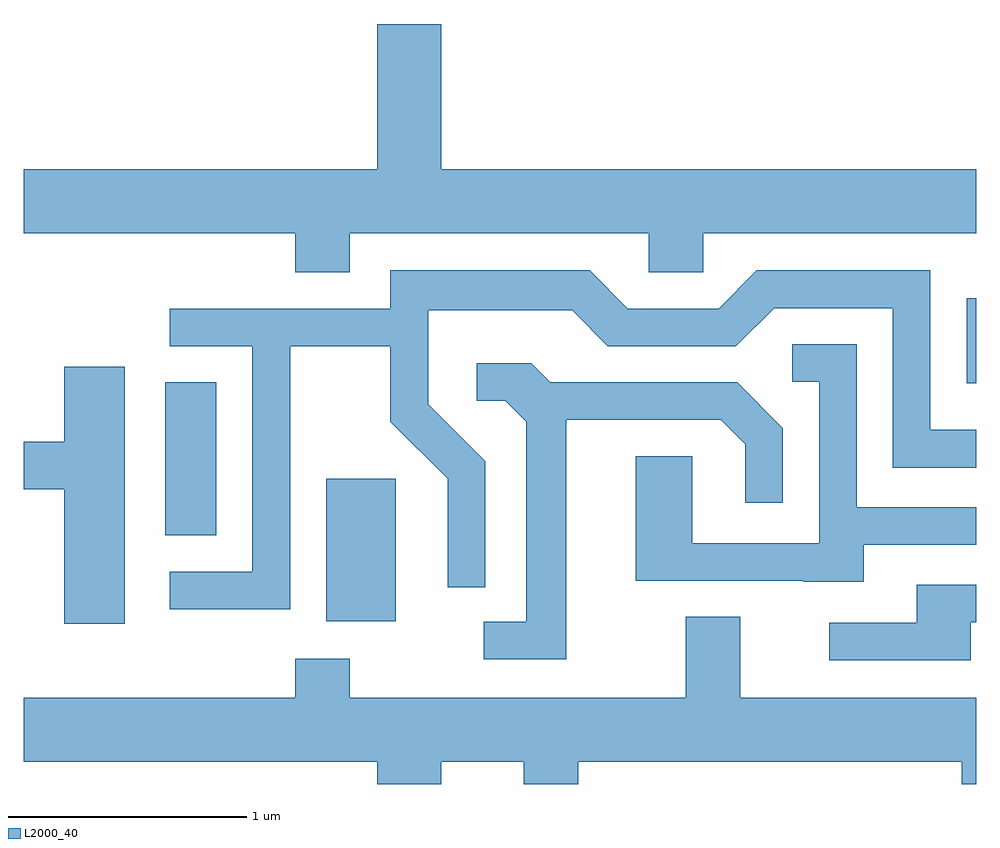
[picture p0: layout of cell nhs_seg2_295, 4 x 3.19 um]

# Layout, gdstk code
import gdstk
lib = gdstk.Library(unit=1e-6, precision=1e-09)
def R(c, l, rs):  # rectangles x0, y0, x1, y1
    for r in rs: c.add(gdstk.rectangle(r[:2], r[2:], *l))
def P(c, l, *ps):  # polygons
    for p in ps: c.add(gdstk.Polygon(p, *l))
L2000_40 = (2000, 40)

nhs_seg2_295 = lib.new_cell('nhs_seg2_295')
R(nhs_seg2_295, L2000_40, [(194.881,1024.486,195.174,1025.084), (194.206,1024.846,194.419,1025.489), (197.571,1025.486,197.611,1025.843)])
P(nhs_seg2_295, L2000_40, [(194.979,1026.116),(196.236,1026.116),(196.236,1025.951),(196.464,1025.951),(196.464,1026.116),(197.611,1026.116),(197.611,1026.384),(195.364,1026.384),(195.364,1026.994),(195.096,1026.994),(195.096,1026.384),(193.611,1026.384),(193.611,1026.116),(194.751,1026.116),(194.751,1025.951),(194.979,1025.951)],
  [(194.729,1025.641),(195.151,1025.641),(195.151,1025.324),(195.391,1025.084),(195.391,1024.628),(195.549,1024.628),(195.549,1025.157),(195.309,1025.397),(195.309,1025.791),(195.914,1025.791),(196.064,1025.641),(196.602,1025.641),(196.762,1025.801),(197.261,1025.801),(197.261,1025.131),(197.611,1025.131),(197.611,1025.289),(197.419,1025.289),(197.419,1025.959),(196.689,1025.959),(196.529,1025.799),(196.147,1025.799),(195.987,1025.959),(195.151,1025.959),(195.151,1025.799),(194.223,1025.799),(194.223,1025.641),(194.571,1025.641),(194.571,1024.694),(194.223,1024.694),(194.223,1024.536),(194.729,1024.536)],
  [(197.139,1024.806),(197.611,1024.806),(197.611,1024.964),(197.109,1024.964),(197.109,1025.649),(196.838,1025.649),(196.838,1025.491),(196.951,1025.491),(196.951,1024.814),(196.419,1024.814),(196.419,1025.179),(196.181,1025.179),(196.181,1024.656),(196.885,1024.656),(196.885,1024.651),(197.139,1024.651)],
  [(195.889,1025.331),(196.539,1025.331),(196.641,1025.228),(196.641,1024.983),(196.799,1024.983),(196.799,1025.296),(196.607,1025.489),(195.822,1025.489),(195.742,1025.569),(195.513,1025.569),(195.513,1025.411),(195.634,1025.411),(195.721,1025.324),(195.721,1024.484),(195.543,1024.484),(195.543,1024.326),(195.889,1024.326)],
  [(194.034,1025.554),(193.781,1025.554),(193.781,1025.239),(193.611,1025.239),(193.611,1025.041),(193.781,1025.041),(193.781,1024.476),(194.034,1024.476)],
  [(197.589,1024.481),(197.611,1024.481),(197.611,1024.639),(197.361,1024.639),(197.361,1024.479),(196.993,1024.479),(196.993,1024.321),(197.589,1024.321)],
  [(195.364,1023.896),(195.711,1023.896),(195.711,1023.802),(195.939,1023.802),(195.939,1023.896),(197.551,1023.896),(197.551,1023.802),(197.611,1023.802),(197.611,1024.164),(196.619,1024.164),(196.619,1024.504),(196.391,1024.504),(196.391,1024.164),(194.979,1024.164),(194.979,1024.329),(194.751,1024.329),(194.751,1024.164),(193.611,1024.164),(193.611,1023.896),(195.096,1023.896),(195.096,1023.802),(195.364,1023.802)])

lib.write_gds('nhs_seg2_295.gds')
